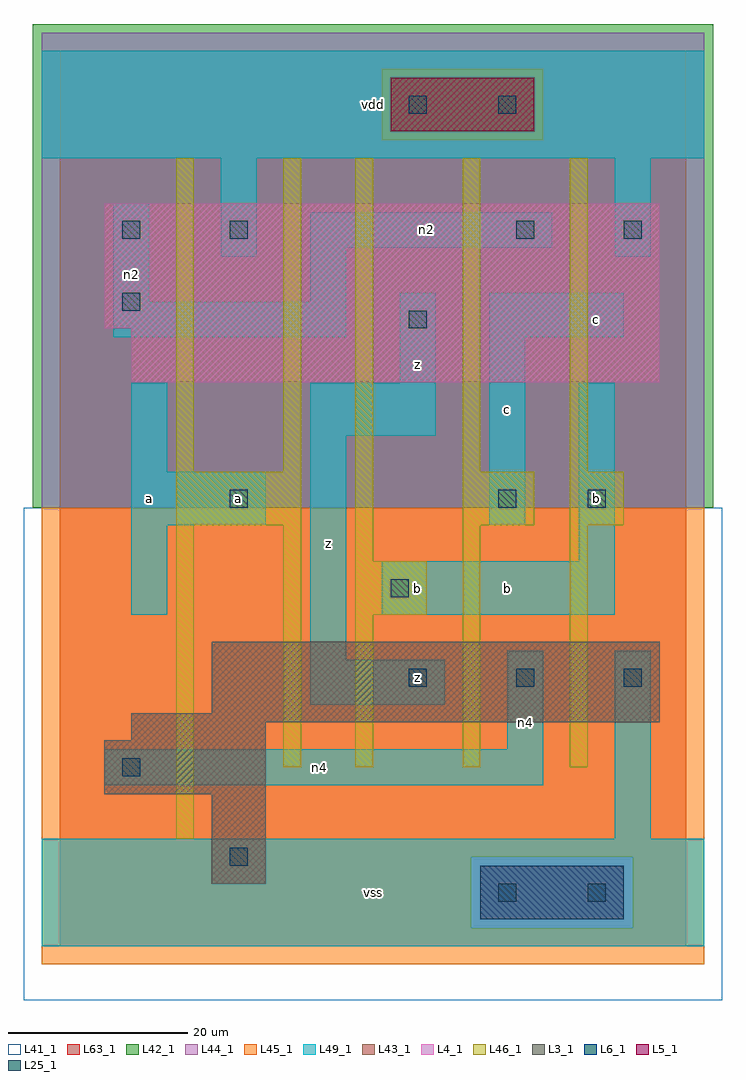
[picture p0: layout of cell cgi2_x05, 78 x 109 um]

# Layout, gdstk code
import gdstk
lib = gdstk.Library(unit=1e-6, precision=1e-09)
def R(c, l, rs):  # rectangles x0, y0, x1, y1
    for r in rs: c.add(gdstk.rectangle(r[:2], r[2:], *l))
def A(c, l, x, y, w, h, nx, ny, dx, dy):  # array of equal rectangles
    R(c, l, [(x+i*dx, y+j*dy, x+i*dx+w, y+j*dy+h) for i in range(nx) for j in range(ny)])
L3_1 = (3, 1)
L4_1 = (4, 1)
L5_1 = (5, 1)
L6_1 = (6, 1)
L25_1 = (25, 1)
L41_1 = (41, 1)
L42_1 = (42, 1)
L43_1 = (43, 1)
L44_1 = (44, 1)
L45_1 = (45, 1)
L46_1 = (46, 1)
L49_1 = (49, 1)
L63_1 = (63, 1)

cgi2_x05 = lib.new_cell('cgi2_x05')
R(cgi2_x05, L3_1, [(17,7,23,17), (5,17,23,23), (8,23,23,25), (8,25,67,26), (17,26,67,34)])
R(cgi2_x05, L4_1, [(8,63,67,69), (5,69,67,83)])
R(cgi2_x05, L5_1, [(37,91,53,97)])
R(cgi2_x05, L6_1, [(47,3,63,9)])
A(cgi2_x05, L25_1, 49, 5, 2, 2, 1, 3, 0, 44)
A(cgi2_x05, L25_1, 39, 29, 2, 2, 3, 1, 12, 0)
R(cgi2_x05, L25_1, [(59,5,61,7), (19,9,21,11), (7,19,9,21), (37,39,39,41), (19,49,21,51), (59,49,61,51), (39,69,41,71), (7,71,9,73), (7,79,9,81), (19,79,21,81), (51,79,53,81), (63,79,65,81), (39,93,41,95)])
R(cgi2_x05, L41_1, [(-4,-6,74,49), (-3,-3,73,49)])
R(cgi2_x05, L42_1, [(-3,49,73,103)])
R(cgi2_x05, L43_1, [(47,3,63,9), (17,7,23,17), (5,17,23,23), (8,23,23,25), (8,25,67,26), (17,26,67,34), (8,63,67,69), (5,69,67,83), (37,91,53,97)])
R(cgi2_x05, L44_1, [(46,2,64,10), (-2,49,72,90), (-2,90,36,98), (54,90,72,98), (-2,98,72,102)])
R(cgi2_x05, L45_1, [(-2,-2,72,2), (-2,2,46,10), (64,2,72,10), (-2,10,72,49), (36,90,54,98)])
R(cgi2_x05, L46_1, [(13,12,15,47), (25,20,27,47), (33,20,35,37), (45,20,47,47), (57,20,59,47), (33,37,41,43), (33,43,35,88), (13,47,27,53), (45,47,53,53), (57,47,63,53), (13,53,15,88), (25,53,27,88), (45,53,47,88), (57,53,59,88)])
R(cgi2_x05, L49_1, [(-2,0,72,12), (62,12,66,33), (5,18,54,22), (50,22,54,33), (28,27,43,32), (28,32,32,57), (8,37,12,47), (36,37,62,43), (58,43,62,63), (8,47,23,53), (48,47,52,68), (8,53,12,63), (28,57,42,63), (38,63,42,73), (6,68,32,72), (48,68,63,73), (6,72,10,83), (28,72,32,78), (18,77,22,88), (62,77,66,88), (28,78,55,82), (-2,88,72,100)])
R(cgi2_x05, L63_1, [(0,0,70,100)])
cgi2_x05.add(gdstk.Label('n2', (8,75), layer=49, texttype=1))
cgi2_x05.add(gdstk.Label('a', (10,50), layer=49, texttype=1))
cgi2_x05.add(gdstk.Label('a', (10,50), layer=49, texttype=1))
cgi2_x05.add(gdstk.Label('a', (20,50), layer=49, texttype=1))
cgi2_x05.add(gdstk.Label('a', (20,50), layer=49, texttype=1))
cgi2_x05.add(gdstk.Label('vss', (35,6), layer=49, texttype=1))
cgi2_x05.add(gdstk.Label('vss', (35,6), layer=49, texttype=1))
cgi2_x05.add(gdstk.Label('z', (30,45), layer=49, texttype=1))
cgi2_x05.add(gdstk.Label('z', (30,45), layer=49, texttype=1))
cgi2_x05.add(gdstk.Label('vdd', (35,94), layer=49, texttype=1))
cgi2_x05.add(gdstk.Label('vdd', (35,94), layer=49, texttype=1))
cgi2_x05.add(gdstk.Label('n4', (52,25), layer=49, texttype=1))
cgi2_x05.add(gdstk.Label('n4', (29,20), layer=49, texttype=1))
cgi2_x05.add(gdstk.Label('z', (40,30), layer=49, texttype=1))
cgi2_x05.add(gdstk.Label('z', (40,30), layer=49, texttype=1))
cgi2_x05.add(gdstk.Label('b', (50,40), layer=49, texttype=1))
cgi2_x05.add(gdstk.Label('b', (50,40), layer=49, texttype=1))
cgi2_x05.add(gdstk.Label('b', (40,40), layer=49, texttype=1))
cgi2_x05.add(gdstk.Label('b', (40,40), layer=49, texttype=1))
cgi2_x05.add(gdstk.Label('c', (50,60), layer=49, texttype=1))
cgi2_x05.add(gdstk.Label('c', (50,60), layer=49, texttype=1))
cgi2_x05.add(gdstk.Label('z', (40,65), layer=49, texttype=1))
cgi2_x05.add(gdstk.Label('z', (40,65), layer=49, texttype=1))
cgi2_x05.add(gdstk.Label('n2', (41,80), layer=49, texttype=1))
cgi2_x05.add(gdstk.Label('b', (60,50), layer=49, texttype=1))
cgi2_x05.add(gdstk.Label('b', (60,50), layer=49, texttype=1))
cgi2_x05.add(gdstk.Label('c', (60,70), layer=49, texttype=1))
cgi2_x05.add(gdstk.Label('c', (60,70), layer=49, texttype=1))

lib.write_gds('cgi2_x05.gds')
